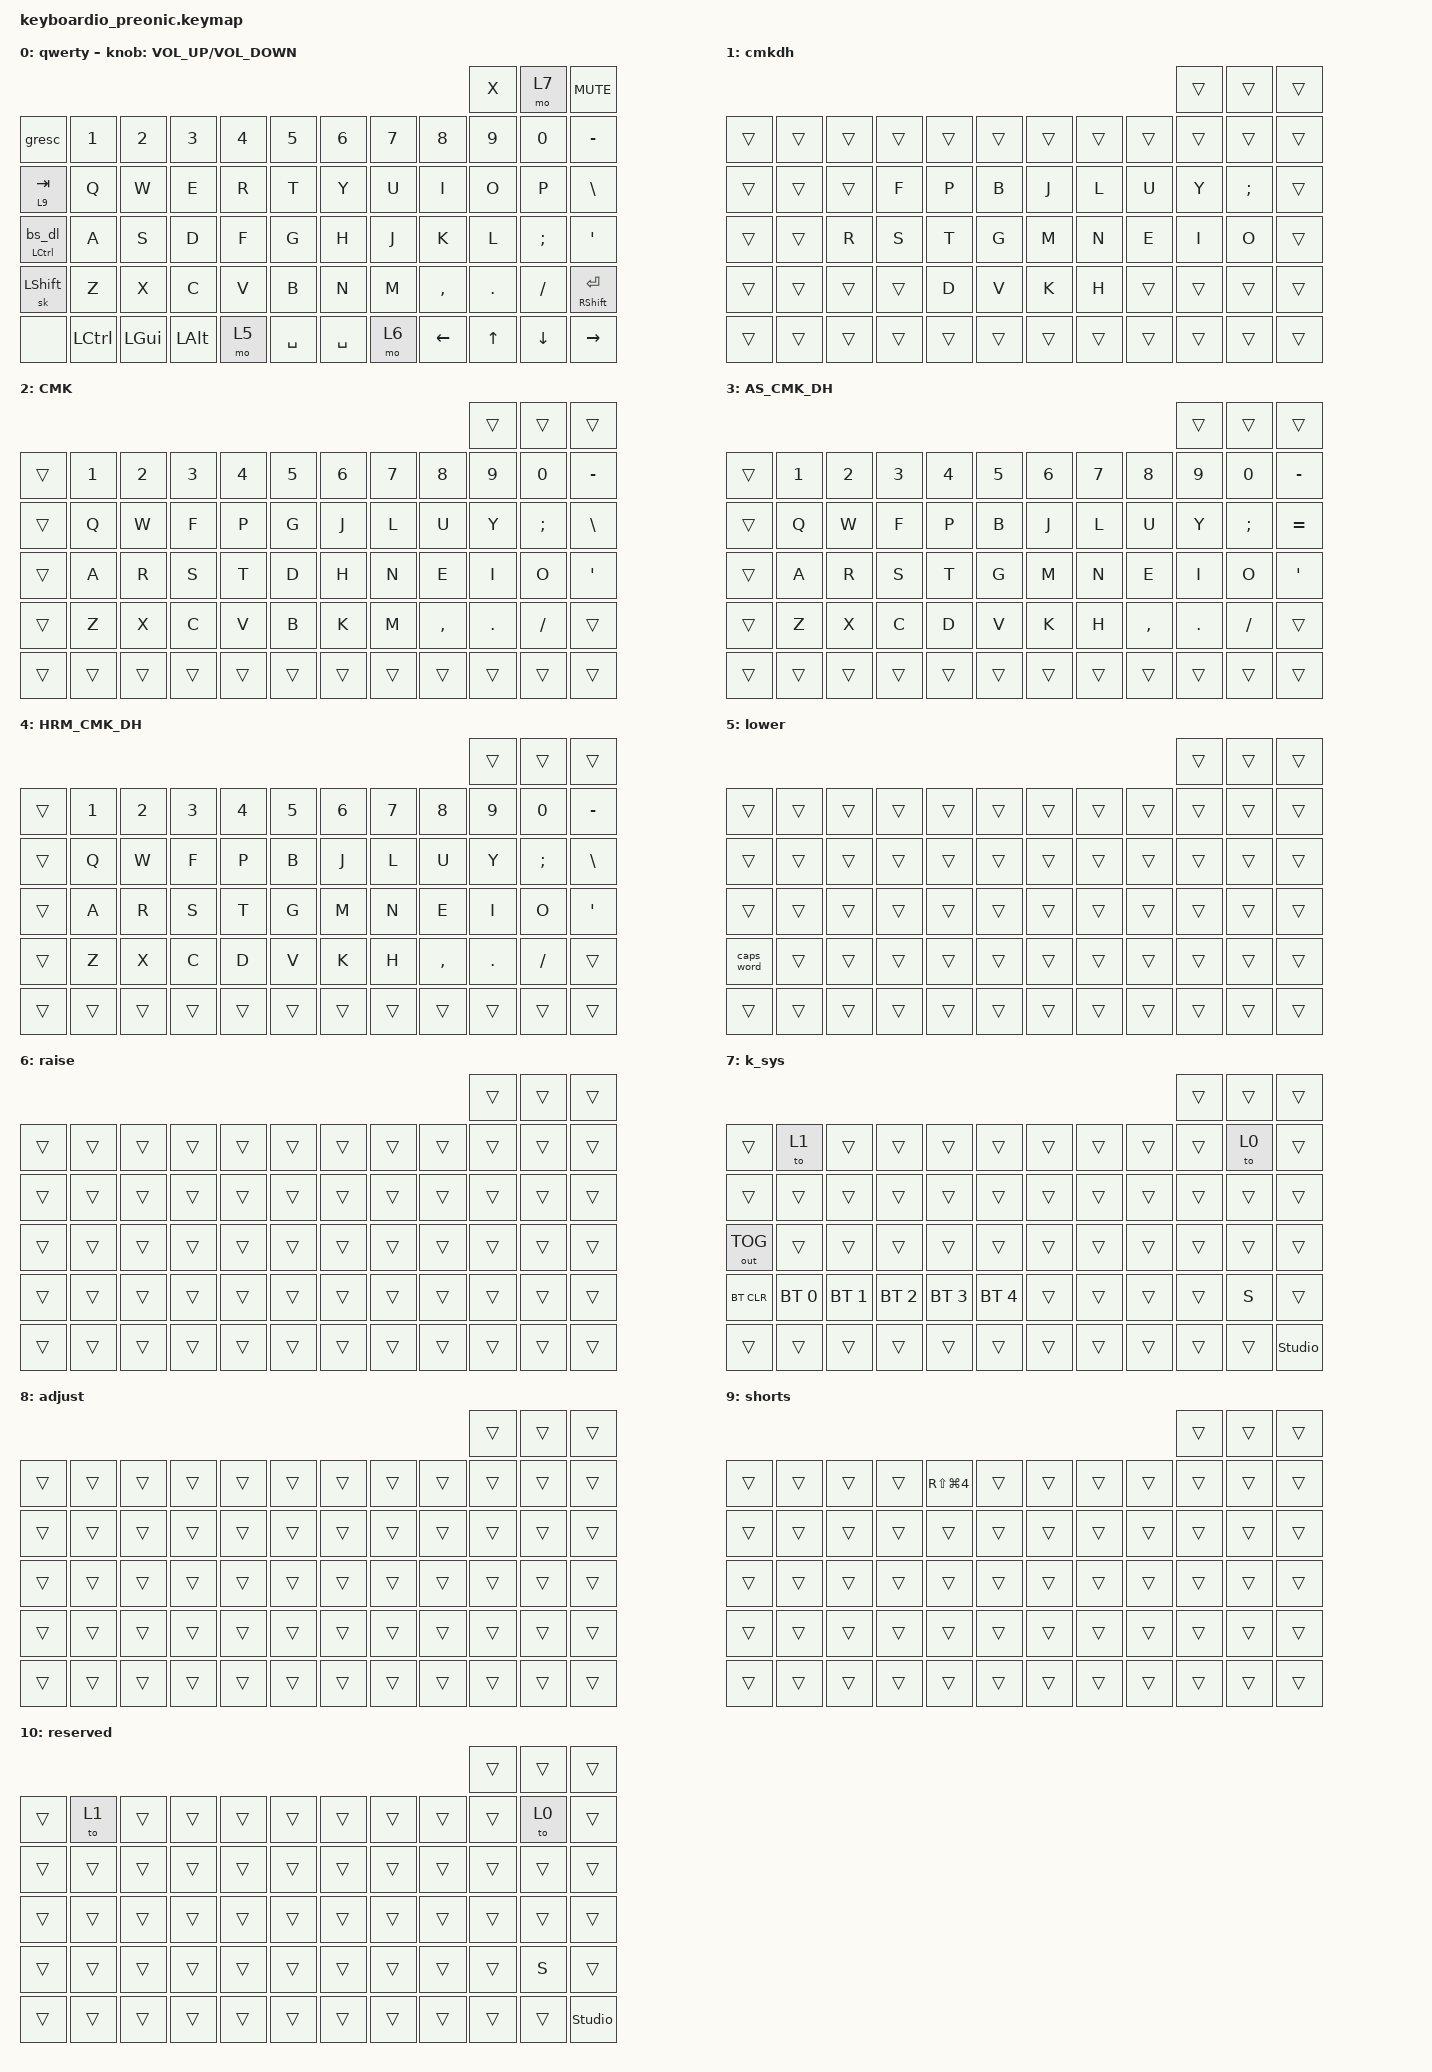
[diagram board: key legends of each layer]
/*
 * Copyright (c) 2022 Pete Johanson
 *
 * SPDX-License-Identifier: MIT
 */

#include <behaviors.dtsi>
#include <dt-bindings/zmk/bt.h>
#include <dt-bindings/zmk/keys.h>
#include <dt-bindings/zmk/outputs.h>

//#define PREONIC_ORTHO   1
//#define PREONIC_MIT     1

#define NAV_L 1
#define NUM_L 2
#define SYM_L 3

// Using layer taps on thumbs, having quick tap as well helps w/ repeating space/backspace

&lt { quick_tap_ms = <200>; };

#define BT(n) BT_SEL n

/ {
    /*#if defined(PREONIC_ORTHO)
    chosen {
       zmk,matrix_transform = &ortho_transform;
    };
#endif*/
    /*   sensors: sensors {
        compatible = "zmk,keymap-sensors";
        //sensors = <&right_encoder>;
        triggers-per-rotation = <20>;
    };*/

    combos {
        compatible = "zmk,combos";

        rpar {
            bindings = <&kp RPAR>;
            key-positions = <23 22>;
            layers = <1 0 4>;
        };

        lpar {
            bindings = <&kp LPAR>;
            key-positions = <18 19>;
            layers = <0 4 1>;
        };

        rbkt {
            bindings = <&kp RBKT>;
            key-positions = <34 35>;
            layers = <1 0 4>;
        };

        lbkt {
            bindings = <&kp LBKT>;
            key-positions = <30 31>;
            layers = <0 4 1>;
        };

        rbrc {
            bindings = <&kp RBRC>;
            key-positions = <46 47>;
            layers = <1 0 4>;
        };

        lbrc {
            bindings = <&kp LBRC>;
            key-positions = <30 31>;
            layers = <0 4 1>;
        };

        minus {
            bindings = <&kp MINUS>;
            key-positions = <24 23>;
        };

        under {
            bindings = <&kp UNDER>;
            key-positions = <24 35>;
        };

        equal {
            bindings = <&kp EQUAL>;
            key-positions = <25 24>;
        };

        colon {
            bindings = <&kp COLON>;
            key-positions = <37 36>;
        };

        dqt {
            bindings = <&kp DQT>;
            key-positions = <38 37>;
        };

        plus {
            bindings = <&kp PLUS>;
            key-positions = <23 36>;
        };

        excl {
            bindings = <&kp EXCL>;
            key-positions = <4 16>;
        };

        at {
            bindings = <&kp AT>;
            key-positions = <5 17>;
        };

        hash {
            bindings = <&kp POUND>;
            key-positions = <6 18>;
        };

        dllr {
            bindings = <&kp DLLR>;
            key-positions = <7 19>;
        };

        percent {
            bindings = <&kp PERCENT>;
            key-positions = <8 20>;
        };

        caret {
            bindings = <&kp CARET>;
            key-positions = <9 21>;
        };

        amps {
            bindings = <&kp AMPS>;
            key-positions = <10 22>;
        };

        astrk {
            bindings = <&kp ASTRK>;
            key-positions = <11 23>;
        };
    };

    behaviors {
        td_mt_esc_caps: tap_dance_mod_tap {
            compatible = "zmk,behavior-tap-dance";
            label = "TAP_DANCE_MOD_TAP";
            #binding-cells = <0>;
            tapping-term-ms = <200>;
            bindings = <&mt LSHFT ESC>, <&kp CAPSLOCK>;
        };

        bs_dl: bksp_delete {
            compatible = "zmk,behavior-mod-morph";
            label = "BKSP_DELETE";
            #binding-cells = <0>;
            bindings = <&kp BACKSPACE>, <&kp DEL>;

            mods = <(MOD_LSFT|MOD_RSFT)>;
        };

        bspc_del: backspace_delete {
            compatible = "zmk,behavior-mod-morph";
            label = "BACKSPACE_DELETE";
            #binding-cells = <0>;
            bindings = <&kp BACKSPACE>, <&kp DELETE>;

            mods = <(MOD_LSFT|MOD_RSFT)>;
            keep-mods = <0>;
        };

        mt_t: behavior_mod_tap_hold {
            compatible = "zmk,behavior-hold-tap";
            label = "MOD_TAP_HOLD";
            #binding-cells = <2>;
            flavor = "tap-preferred";
            tapping-term-ms = <300>;
            bindings = <&kp>, <&kp>;
        };

        mt_bs_del: mod_tap_bs_del {
            compatible = "zmk,behavior-hold-tap";
            label = "MOD_TAP_BS_DEL";
            #binding-cells = <2>;
            tapping-term-ms = <200>;
            quick-tap-ms = <0>;
            flavor = "tap-preferred";
            bindings = <&kp>, <&bs_dl>;
        };

        shift_caps: shift_caps {
            compatible = "zmk,behavior-tap-dance";
            label = "SHIFT_CAPS";
            #binding-cells = <0>;
            bindings = <&kp LSHFT>, <&kp CAPS>;
        };

        as: auto_shift {
            compatible = "zmk,behavior-hold-tap";
            label = "AUTO_SHIFT";
            #binding-cells = <2>;
            tapping-term-ms = <215>;
            quick-tap-ms = <195>;
            require-prior-idle-ms = <100>;
            flavor = "tap-preferred";
            bindings = <&kp>, <&kp>;

            /*quick_tap_ms = <0>;*/
        };

        hm: homerow_mods {
            compatible = "zmk,behavior-hold-tap";
            label = "HOMEROW_MODS";
            #binding-cells = <2>;
            tapping-term-ms = <215>;
            quick-tap-ms = <195>;
            require-prior-idle-ms = <100>;
            flavor = "tap-preferred";
            bindings = <&kp>, <&kp>;
        };
    };

    keymap {
        compatible = "zmk,keymap";

        qwerty {
            label = "qwerty";
            bindings = <
                                                                                                         &kp X    &mo 7     &kp K_MUTE
&gresc               &kp N1     &kp N2    &kp N3    &kp N4  &kp N5     &kp N6         &kp N7  &kp N8     &kp N9   &kp N0    &kp MINUS
&lt 9 TAB            &kp Q      &kp W     &kp E     &kp R   &kp T      &kp Y          &kp U   &kp I      &kp O    &kp P     &kp BSLH
&mt_bs_del LCTRL 0   &kp A      &kp S     &kp D     &kp F   &kp G      &kp H          &kp J   &kp K      &kp L    &kp SEMI  &kp SINGLE_QUOTE
&sk LSHFT            &kp Z      &kp X     &kp C     &kp V   &kp B      &kp N          &kp M   &kp COMMA  &kp DOT  &kp FSLH  &mt RSHIFT RET
&none                &kp LCTRL  &kp LGUI  &kp LALT  &mo 5   &kp SPACE  &kp SPACE  &mo 6   &kp LEFT   &kp UP   &kp DOWN  &kp RIGHT
            >;

            sensor-bindings = <&inc_dec_kp K_VOLUME_UP K_VOLUME_DOWN>;
        };

        CMK-DH {
            bindings = <
                                                                        &trans  &trans    &trans
&trans  &trans  &trans  &trans  &trans  &trans  &trans  &trans  &trans  &trans  &trans    &trans
&trans  &trans  &trans  &kp F   &kp P   &kp B   &kp J   &kp L   &kp U   &kp Y   &kp SEMI  &trans
&trans  &trans  &kp R   &kp S   &kp T   &kp G   &kp M   &kp N   &kp E   &kp I   &kp O     &trans
&trans  &trans  &trans  &trans  &kp D   &kp V   &kp K   &kp H   &trans  &trans  &trans    &trans
&trans  &trans  &trans  &trans  &trans  &trans  &trans  &trans  &trans  &trans  &trans    &trans
            >;

            label = "cmkdh";
        };

        CMK {
            bindings = <
                                                                           &trans   &trans    &trans
&trans  &kp N1  &kp N2  &kp N3  &kp N4  &kp N5  &kp N6  &kp N7  &kp N8     &kp N9   &kp N0    &kp MINUS
&trans  &kp Q   &kp W   &kp F   &kp P   &kp G   &kp J   &kp L   &kp U      &kp Y    &kp SEMI  &kp BSLH
&trans  &kp A   &kp R   &kp S   &kp T   &kp D   &kp H   &kp N   &kp E      &kp I    &kp O     &kp APOS
&trans  &kp Z   &kp X   &kp C   &kp V   &kp B   &kp K   &kp M   &kp COMMA  &kp DOT  &kp FSLH  &trans
&trans  &trans  &trans  &trans  &trans  &trans  &trans  &trans  &trans     &trans   &trans    &trans
            >;

            label = "CMK";
        };

        AS_CMK_DH {
            bindings = <
                                                                           &trans   &trans    &trans
&trans  &kp N1  &kp N2  &kp N3  &kp N4  &kp N5  &kp N6  &kp N7  &kp N8     &kp N9   &kp N0    &kp MINUS
&trans  &kp Q   &kp W   &kp F   &kp P   &kp B   &kp J   &kp L   &kp U      &kp Y    &kp SEMI  &kp EQUAL
&trans  &kp A   &kp R   &kp S   &kp T   &kp G   &kp M   &kp N   &kp E      &kp I    &kp O     &kp APOS
&trans  &kp Z   &kp X   &kp C   &kp D   &kp V   &kp K   &kp H   &kp COMMA  &kp DOT  &kp FSLH  &trans
&trans  &trans  &trans  &trans  &trans  &trans  &trans  &trans  &trans     &trans   &trans    &trans
            >;

            label = "AS_CMK_DH";
        };

        HRM_CMK_DH {
            bindings = <
                                                                           &trans   &trans    &trans
&trans  &kp N1  &kp N2  &kp N3  &kp N4  &kp N5  &kp N6  &kp N7  &kp N8     &kp N9   &kp N0    &kp MINUS
&trans  &kp Q   &kp W   &kp F   &kp P   &kp B   &kp J   &kp L   &kp U      &kp Y    &kp SEMI  &kp BSLH
&trans  &kp A   &kp R   &kp S   &kp T   &kp G   &kp M   &kp N   &kp E      &kp I    &kp O     &kp APOS
&trans  &kp Z   &kp X   &kp C   &kp D   &kp V   &kp K   &kp H   &kp COMMA  &kp DOT  &kp FSLH  &trans
&trans  &trans  &trans  &trans  &trans  &trans  &trans  &trans  &trans     &trans   &trans    &trans
            >;

            label = "HRM_CMK_DH";
        };

        lower {
            bindings = <
                                                                            &trans  &trans  &trans
&trans      &trans  &trans  &trans  &trans  &trans  &trans  &trans  &trans  &trans  &trans  &trans
&trans      &trans  &trans  &trans  &trans  &trans  &trans  &trans  &trans  &trans  &trans  &trans
&trans      &trans  &trans  &trans  &trans  &trans  &trans  &trans  &trans  &trans  &trans  &trans
&caps_word  &trans  &trans  &trans  &trans  &trans  &trans  &trans  &trans  &trans  &trans  &trans
&trans      &trans  &trans  &trans  &trans  &trans  &trans  &trans  &trans  &trans  &trans  &trans
            >;

            label = "lower";
        };

        raise {
            bindings = <
                                                                        &trans  &trans  &trans
&trans  &trans  &trans  &trans  &trans  &trans  &trans  &trans  &trans  &trans  &trans  &trans
&trans  &trans  &trans  &trans  &trans  &trans  &trans  &trans  &trans  &trans  &trans  &trans
&trans  &trans  &trans  &trans  &trans  &trans  &trans  &trans  &trans  &trans  &trans  &trans
&trans  &trans  &trans  &trans  &trans  &trans  &trans  &trans  &trans  &trans  &trans  &trans
&trans  &trans  &trans  &trans  &trans  &trans  &trans  &trans  &trans  &trans  &trans  &trans
            >;

            label = "raise";
        };

        k_sys {
            bindings = <
                                                                                                            &trans  &trans  &trans
&trans        &to 1         &trans        &trans        &trans        &trans        &trans  &trans  &trans  &trans  &to 0   &trans
&trans        &trans        &trans        &trans        &trans        &trans        &trans  &trans  &trans  &trans  &trans  &trans
&out OUT_TOG  &trans        &trans        &trans        &trans        &trans        &trans  &trans  &trans  &trans  &trans  &trans
&bt BT_CLR    &bt BT_SEL 0  &bt BT_SEL 1  &bt BT_SEL 2  &bt BT_SEL 3  &bt BT_SEL 4  &trans  &trans  &trans  &trans  &kp S   &trans
&trans        &trans        &trans        &trans        &trans        &trans        &trans  &trans  &trans  &trans  &trans  &studio_unlock
            >;

            label = "k_sys";
        };

        adjust {
            bindings = <
                                                                        &trans  &trans  &trans
&trans  &trans  &trans  &trans  &trans  &trans  &trans  &trans  &trans  &trans  &trans  &trans
&trans  &trans  &trans  &trans  &trans  &trans  &trans  &trans  &trans  &trans  &trans  &trans
&trans  &trans  &trans  &trans  &trans  &trans  &trans  &trans  &trans  &trans  &trans  &trans
&trans  &trans  &trans  &trans  &trans  &trans  &trans  &trans  &trans  &trans  &trans  &trans
&trans  &trans  &trans  &trans  &trans  &trans  &trans  &trans  &trans  &trans  &trans  &trans
            >;

            label = "adjust";
        };

        shorts {
            bindings = <
                                                                                &trans  &trans  &trans
&trans  &trans  &trans  &trans  &kp RS(LG(N4))  &trans  &trans  &trans  &trans  &trans  &trans  &trans
&trans  &trans  &trans  &trans  &trans          &trans  &trans  &trans  &trans  &trans  &trans  &trans
&trans  &trans  &trans  &trans  &trans          &trans  &trans  &trans  &trans  &trans  &trans  &trans
&trans  &trans  &trans  &trans  &trans          &trans  &trans  &trans  &trans  &trans  &trans  &trans
&trans  &trans  &trans  &trans  &trans          &trans  &trans  &trans  &trans  &trans  &trans  &trans
            >;

            label = "shorts";
        };

        reserved {
            bindings = <
                                                                        &trans  &trans  &trans
&trans  &to 1   &trans  &trans  &trans  &trans  &trans  &trans  &trans  &trans  &to 0   &trans
&trans  &trans  &trans  &trans  &trans  &trans  &trans  &trans  &trans  &trans  &trans  &trans
&trans  &trans  &trans  &trans  &trans  &trans  &trans  &trans  &trans  &trans  &trans  &trans
&trans  &trans  &trans  &trans  &trans  &trans  &trans  &trans  &trans  &trans  &kp S   &trans
&trans  &trans  &trans  &trans  &trans  &trans  &trans  &trans  &trans  &trans  &trans  &studio_unlock
            >;

            label = "reserved";
        };
    };

    /*
    sensors: sensors {
        compatible = "zmk,keymap-sensors";
        sensors = <&encoder>;
        triggers-per-rotation = <20>;
    };
    */

    conditional_layers {
        compatible = "zmk,conditional-layers";

        sys {
            if-layers = <7 8>;
            then-layer = <10>;
        };
    };
};
